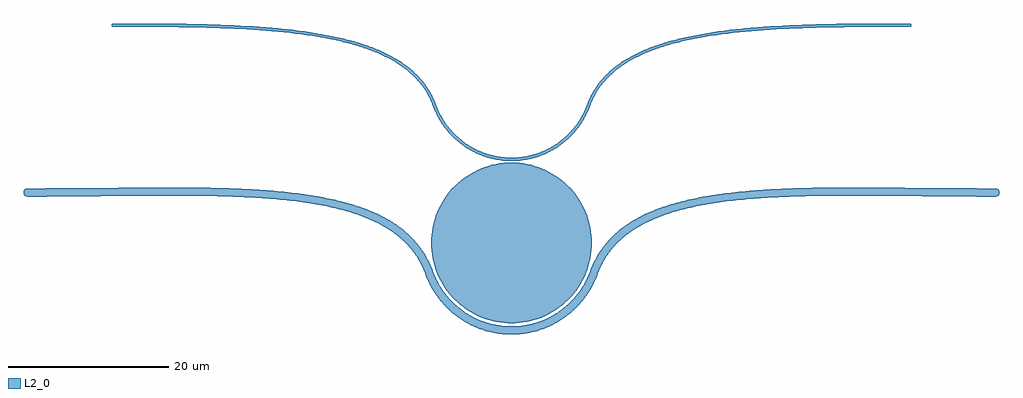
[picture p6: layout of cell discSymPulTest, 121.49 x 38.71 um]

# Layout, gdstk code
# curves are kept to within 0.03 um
import gdstk
lib = gdstk.Library(unit=1e-6, precision=1e-09)
def P(c, l, *ps):  # polygons
    for p in ps: c.add(gdstk.Polygon(p, *l))
L2_0 = (2, 0)

discsympultest = lib.new_cell('discSymPulTest')
P(discsympultest, L2_0, [(-70.243,25.772),(-70.437,25.811),(-70.596,25.918),(-70.703,26.077),(-70.743,26.272),(-70.703,26.467),(-70.596,26.626),(-70.437,26.733),(-70.243,26.772)],
  [(50.243,25.772),(50.243,26.772),(50.437,26.733),(50.596,26.626),(50.703,26.467),(50.743,26.272),(50.703,26.077),(50.596,25.918),(50.437,25.811)],
  [(-10,8.6),(-10.871,8.633),(-11.844,8.75),(-12.698,8.924),(-13.537,9.162),(-14.455,9.506),(-15.243,9.877),(-16.094,10.365),(-16.899,10.924),(-17.572,11.478),(-18.201,12.081),(-18.851,12.815),(-19.374,13.512),(-20.205,14.918),(-21.032,16.887),(-21.537,17.868),(-22.292,18.991),(-23.276,20.099),(-23.879,20.65),(-24.64,21.248),(-25.584,21.874),(-26.343,22.306),(-28.018,23.088),(-30.191,23.853),(-31.531,24.221),(-32.94,24.544),(-35.956,25.064),(-39.249,25.438),(-43.262,25.71),(-46.574,25.829),(-51.566,25.893),(-70.243,25.772),(-70.243,26.772),(-51.572,26.892),(-47.52,26.849),(-43.198,26.707),(-39.15,26.433),(-35.799,26.052),(-32.695,25.514),(-31.243,25.179),(-29.861,24.797),(-27.922,24.127),(-26.152,23.334),(-24.658,22.473),(-23.437,21.583),(-22.249,20.479),(-21.672,19.819),(-21.147,19.117),(-20.32,17.718),(-19.439,15.633),(-18.928,14.666),(-18.075,13.445),(-17.2,12.495),(-16.451,11.842),(-15.559,11.21),(-14.695,10.72),(-13.788,10.314),(-12.846,9.997),(-11.976,9.789),(-10.993,9.647),(-10,9.6)],
  [(-10,8.6),(-10,9.6),(-9.007,9.647),(-8.024,9.789),(-7.154,9.997),(-6.212,10.314),(-5.305,10.72),(-4.441,11.21),(-3.549,11.842),(-2.8,12.495),(-1.925,13.445),(-1.072,14.666),(-0.561,15.633),(0.32,17.718),(1.147,19.117),(1.672,19.819),(2.249,20.479),(3.437,21.583),(4.658,22.473),(6.152,23.334),(7.922,24.127),(9.861,24.797),(11.243,25.179),(12.695,25.514),(15.799,26.052),(19.15,26.433),(23.198,26.707),(27.52,26.849),(31.572,26.892),(50.243,26.772),(50.243,25.772),(31.566,25.893),(26.574,25.829),(23.262,25.71),(19.249,25.438),(15.956,25.064),(12.94,24.544),(11.531,24.221),(10.191,23.853),(8.018,23.088),(6.343,22.306),(5.584,21.874),(4.64,21.248),(3.879,20.65),(3.276,20.099),(2.292,18.991),(1.537,17.868),(1.032,16.887),(0.205,14.918),(-0.626,13.512),(-1.149,12.815),(-1.799,12.081),(-2.428,11.478),(-3.101,10.924),(-3.906,10.365),(-4.757,9.877),(-5.545,9.506),(-6.463,9.162),(-7.302,8.924),(-8.156,8.75),(-9.129,8.633)],
  [(-10,10),(-10.98,10.048),(-11.951,10.192),(-12.903,10.431),(-13.827,10.761),(-14.714,11.181),(-15.556,11.685),(-16.344,12.27),(-17.071,12.929),(-17.73,13.656),(-18.315,14.444),(-18.819,15.286),(-19.239,16.173),(-19.569,17.097),(-19.808,18.049),(-19.952,19.02),(-20,20),(-19.952,20.98),(-19.808,21.951),(-19.569,22.903),(-19.239,23.827),(-18.819,24.714),(-18.315,25.556),(-17.73,26.344),(-17.071,27.071),(-16.344,27.73),(-15.556,28.315),(-14.714,28.819),(-13.827,29.239),(-12.903,29.569),(-11.951,29.808),(-10.98,29.952),(-10,30),(-9.02,29.952),(-8.049,29.808),(-7.097,29.569),(-6.173,29.239),(-5.286,28.819),(-4.444,28.315),(-3.656,27.73),(-2.929,27.071),(-2.27,26.344),(-1.685,25.556),(-1.181,24.714),(-0.761,23.827),(-0.431,22.903),(-0.192,21.951),(-0.048,20.98),(0,20),(-0.048,19.02),(-0.192,18.049),(-0.431,17.097),(-0.761,16.173),(-1.181,15.286),(-1.685,14.444),(-2.27,13.656),(-2.929,12.929),(-3.656,12.27),(-4.444,11.685),(-5.286,11.181),(-6.173,10.761),(-7.097,10.431),(-8.049,10.192),(-9.02,10.048)],
  [(-10,30.2),(-10.894,30.238),(-11.682,30.337),(-12.462,30.496),(-13.321,30.744),(-14.155,31.066),(-14.959,31.458),(-15.726,31.918),(-16.373,32.381),(-17.482,33.376),(-18.075,34.045),(-18.552,34.681),(-19.31,35.964),(-20.037,37.697),(-20.569,38.72),(-21.353,39.844),(-22.125,40.697),(-23.38,41.772),(-24.832,42.716),(-26.482,43.542),(-28.312,44.252),(-30.61,44.933),(-33.116,45.486),(-36.18,45.975),(-39.473,46.338),(-42.973,46.593),(-47.927,46.797),(-53.169,46.888),(-59.585,46.911),(-59.751,47),(-59.776,47.171),(-59.697,47.277),(-59.585,47.311),(-50.493,47.254),(-45.375,47.11),(-40.568,46.831),(-37.194,46.505),(-33.704,46),(-30.805,45.394),(-29.599,45.074),(-28.167,44.625),(-26.31,43.903),(-24.632,43.063),(-23.137,42.089),(-22.37,41.471),(-21.84,40.977),(-20.894,39.908),(-20.228,38.93),(-19.677,37.872),(-18.952,36.142),(-18.223,34.909),(-17.26,33.723),(-16.203,32.756),(-15.018,31.95),(-13.819,31.358),(-12.828,31.008),(-11.9,30.782),(-11.049,30.655),(-10,30.6)],
  [(-10,30.2),(-10,30.6),(-8.951,30.655),(-8.1,30.782),(-7.172,31.008),(-6.181,31.358),(-4.982,31.95),(-3.797,32.756),(-2.74,33.723),(-1.777,34.909),(-1.048,36.142),(-0.323,37.872),(0.228,38.93),(0.894,39.908),(1.84,40.977),(2.37,41.471),(3.137,42.089),(4.632,43.063),(6.31,43.903),(8.167,44.625),(9.599,45.074),(10.805,45.394),(13.704,46),(17.194,46.505),(20.568,46.831),(25.375,47.11),(30.493,47.254),(39.585,47.311),(39.697,47.277),(39.776,47.171),(39.751,47),(39.585,46.911),(33.169,46.888),(27.927,46.797),(22.973,46.593),(19.473,46.338),(16.18,45.975),(13.116,45.486),(10.61,44.933),(8.312,44.252),(6.482,43.542),(4.832,42.716),(3.38,41.772),(2.125,40.697),(1.353,39.844),(0.569,38.72),(0.037,37.697),(-0.69,35.964),(-1.448,34.681),(-1.925,34.045),(-2.518,33.376),(-3.627,32.381),(-4.274,31.918),(-5.041,31.458),(-5.845,31.066),(-6.679,30.744),(-7.538,30.496),(-8.318,30.337),(-9.106,30.238)])

lib.write_gds('discSymPulTest.gds')
